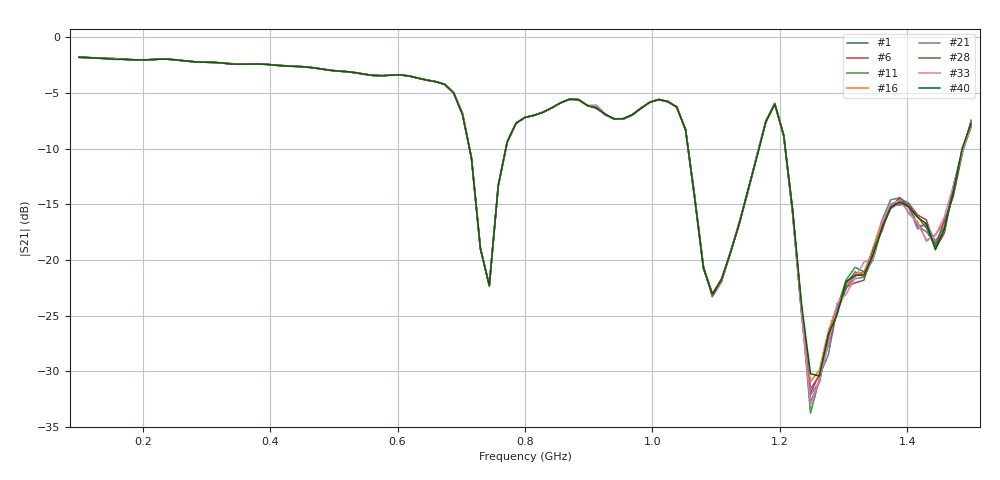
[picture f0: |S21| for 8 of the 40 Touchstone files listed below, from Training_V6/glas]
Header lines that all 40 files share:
! NanoVNA-App
! Start: 100MHz Stop: 1,5GHz Points: 101
! S-Parameter data: F S11 S21 S12 S22
# Hz S RI R 50
!  Frequency  S11_Real  S11_Imag  S21_Real  S21_Imag  S12_Real  S12_Imag  S22_Real  S22_Imag
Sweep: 100 MHz to 1.5 GHz
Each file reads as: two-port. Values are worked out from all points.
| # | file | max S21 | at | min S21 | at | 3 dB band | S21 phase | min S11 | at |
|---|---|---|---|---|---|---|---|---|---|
| 1 | glas (841).s2p | -1.80 dB | 100 MHz | -31.5 dB | 1.248 GHz | 100 MHz-674 MHz | 90 deg at 800 MHz | -41.6 dB | 492 MHz |
| 2 | glas (842).s2p | -1.80 dB | 100 MHz | -33.3 dB | 1.248 GHz | 100 MHz-674 MHz | 90 deg at 800 MHz | -41.8 dB | 492 MHz |
| 3 | glas (843).s2p | -1.80 dB | 100 MHz | -31.8 dB | 1.248 GHz | 100 MHz-674 MHz | 90 deg at 800 MHz | -41.9 dB | 492 MHz |
| 4 | glas (844).s2p | -1.80 dB | 100 MHz | -31.5 dB | 1.248 GHz | 100 MHz-674 MHz | 90 deg at 800 MHz | -41.5 dB | 492 MHz |
| 5 | glas (845).s2p | -1.80 dB | 100 MHz | -32.7 dB | 1.248 GHz | 100 MHz-674 MHz | 90 deg at 800 MHz | -41.7 dB | 492 MHz |
| 6 | glas (846).s2p | -1.80 dB | 100 MHz | -31.9 dB | 1.248 GHz | 100 MHz-674 MHz | 90 deg at 800 MHz | -42.0 dB | 492 MHz |
| 7 | glas (847).s2p | -1.80 dB | 100 MHz | -33.9 dB | 1.248 GHz | 100 MHz-674 MHz | 90 deg at 800 MHz | -41.3 dB | 492 MHz |
| 8 | glas (848).s2p | -1.80 dB | 100 MHz | -31.9 dB | 1.248 GHz | 100 MHz-674 MHz | 90 deg at 800 MHz | -41.9 dB | 492 MHz |
| 9 | glas (849).s2p | -1.80 dB | 100 MHz | -31.5 dB | 1.262 GHz | 100 MHz-674 MHz | 90 deg at 800 MHz | -41.6 dB | 492 MHz |
| 10 | glas (850).s2p | -1.80 dB | 100 MHz | -31.6 dB | 1.248 GHz | 100 MHz-674 MHz | 90 deg at 800 MHz | -41.8 dB | 492 MHz |
| 11 | glas (851).s2p | -1.80 dB | 100 MHz | -33.7 dB | 1.248 GHz | 100 MHz-674 MHz | 90 deg at 800 MHz | -42.0 dB | 492 MHz |
| 12 | glas (852).s2p | -1.80 dB | 100 MHz | -32.2 dB | 1.248 GHz | 100 MHz-674 MHz | 90 deg at 800 MHz | -41.8 dB | 492 MHz |
| 13 | glas (853).s2p | -1.80 dB | 100 MHz | -31.1 dB | 1.248 GHz | 100 MHz-674 MHz | 90 deg at 800 MHz | -41.7 dB | 492 MHz |
| 14 | glas (854).s2p | -1.80 dB | 100 MHz | -32.7 dB | 1.248 GHz | 100 MHz-674 MHz | 90 deg at 800 MHz | -41.9 dB | 492 MHz |
| 15 | glas (855).s2p | -1.80 dB | 100 MHz | -32.3 dB | 1.248 GHz | 100 MHz-674 MHz | 90 deg at 800 MHz | -41.8 dB | 492 MHz |
| 16 | glas (856).s2p | -1.80 dB | 100 MHz | -30.9 dB | 1.248 GHz | 100 MHz-674 MHz | 90 deg at 800 MHz | -41.5 dB | 492 MHz |
| 17 | glas (857).s2p | -1.80 dB | 100 MHz | -30.0 dB | 1.262 GHz | 100 MHz-674 MHz | 90 deg at 800 MHz | -41.3 dB | 492 MHz |
| 18 | glas (858).s2p | -1.80 dB | 100 MHz | -31.2 dB | 1.248 GHz | 100 MHz-674 MHz | 90 deg at 800 MHz | -41.9 dB | 492 MHz |
| 19 | glas (859).s2p | -1.80 dB | 100 MHz | -33.8 dB | 1.248 GHz | 100 MHz-674 MHz | 90 deg at 800 MHz | -41.8 dB | 492 MHz |
| 20 | glas (860).s2p | -1.80 dB | 100 MHz | -32.9 dB | 1.248 GHz | 100 MHz-674 MHz | 90 deg at 800 MHz | -41.6 dB | 492 MHz |
| 21 | glas (861).s2p | -1.80 dB | 100 MHz | -32.1 dB | 1.248 GHz | 100 MHz-674 MHz | 90 deg at 800 MHz | -41.6 dB | 492 MHz |
| 22 | glas (862).s2p | -1.80 dB | 100 MHz | -32.8 dB | 1.248 GHz | 100 MHz-674 MHz | 90 deg at 800 MHz | -41.5 dB | 492 MHz |
| 23 | glas (863).s2p | -1.80 dB | 100 MHz | -31.5 dB | 1.248 GHz | 100 MHz-674 MHz | 90 deg at 800 MHz | -41.6 dB | 492 MHz |
| 24 | glas (864).s2p | -1.80 dB | 100 MHz | -31.2 dB | 1.248 GHz | 100 MHz-674 MHz | 90 deg at 800 MHz | -41.7 dB | 492 MHz |
| 25 | glas (865).s2p | -1.80 dB | 100 MHz | -31.2 dB | 1.248 GHz | 100 MHz-674 MHz | 90 deg at 800 MHz | -41.9 dB | 492 MHz |
| 26 | glas (866).s2p | -1.80 dB | 100 MHz | -31.1 dB | 1.248 GHz | 100 MHz-674 MHz | 90 deg at 800 MHz | -41.4 dB | 492 MHz |
| 27 | glas (867).s2p | -1.80 dB | 100 MHz | -32.1 dB | 1.248 GHz | 100 MHz-674 MHz | 90 deg at 800 MHz | -41.8 dB | 492 MHz |
| 28 | glas (868).s2p | -1.80 dB | 100 MHz | -32.7 dB | 1.248 GHz | 100 MHz-674 MHz | 90 deg at 800 MHz | -41.5 dB | 492 MHz |
| 29 | glas (869).s2p | -1.80 dB | 100 MHz | -30.2 dB | 1.248 GHz | 100 MHz-674 MHz | 90 deg at 800 MHz | -41.9 dB | 492 MHz |
| 30 | glas (870).s2p | -1.80 dB | 100 MHz | -31.9 dB | 1.248 GHz | 100 MHz-674 MHz | 90 deg at 800 MHz | -41.4 dB | 492 MHz |
| 31 | glas (871).s2p | -1.80 dB | 100 MHz | -33.1 dB | 1.248 GHz | 100 MHz-674 MHz | 90 deg at 800 MHz | -41.7 dB | 492 MHz |
| 32 | glas (872).s2p | -1.80 dB | 100 MHz | -32.7 dB | 1.248 GHz | 100 MHz-674 MHz | 90 deg at 800 MHz | -41.8 dB | 492 MHz |
| 33 | glas (873).s2p | -1.80 dB | 100 MHz | -33.0 dB | 1.248 GHz | 100 MHz-674 MHz | 90 deg at 800 MHz | -41.6 dB | 492 MHz |
| 34 | glas (874).s2p | -1.80 dB | 100 MHz | -31.9 dB | 1.248 GHz | 100 MHz-674 MHz | 90 deg at 800 MHz | -42.0 dB | 492 MHz |
| 35 | glas (875).s2p | -1.80 dB | 100 MHz | -32.2 dB | 1.248 GHz | 100 MHz-674 MHz | 90 deg at 800 MHz | -41.9 dB | 492 MHz |
| 36 | glas (876).s2p | -1.80 dB | 100 MHz | -34.2 dB | 1.248 GHz | 100 MHz-674 MHz | 90 deg at 800 MHz | -41.7 dB | 492 MHz |
| 37 | glas (877).s2p | -1.80 dB | 100 MHz | -34.1 dB | 1.248 GHz | 100 MHz-674 MHz | 90 deg at 800 MHz | -41.3 dB | 492 MHz |
| 38 | glas (878).s2p | -1.80 dB | 100 MHz | -32.7 dB | 1.248 GHz | 100 MHz-674 MHz | 90 deg at 800 MHz | -41.7 dB | 492 MHz |
| 39 | glas (879).s2p | -1.80 dB | 100 MHz | -32.7 dB | 1.248 GHz | 100 MHz-674 MHz | 90 deg at 800 MHz | -42.0 dB | 492 MHz |
| 40 | glas (880).s2p | -1.80 dB | 100 MHz | -30.4 dB | 1.262 GHz | 100 MHz-674 MHz | 90 deg at 800 MHz | -41.9 dB | 492 MHz |
